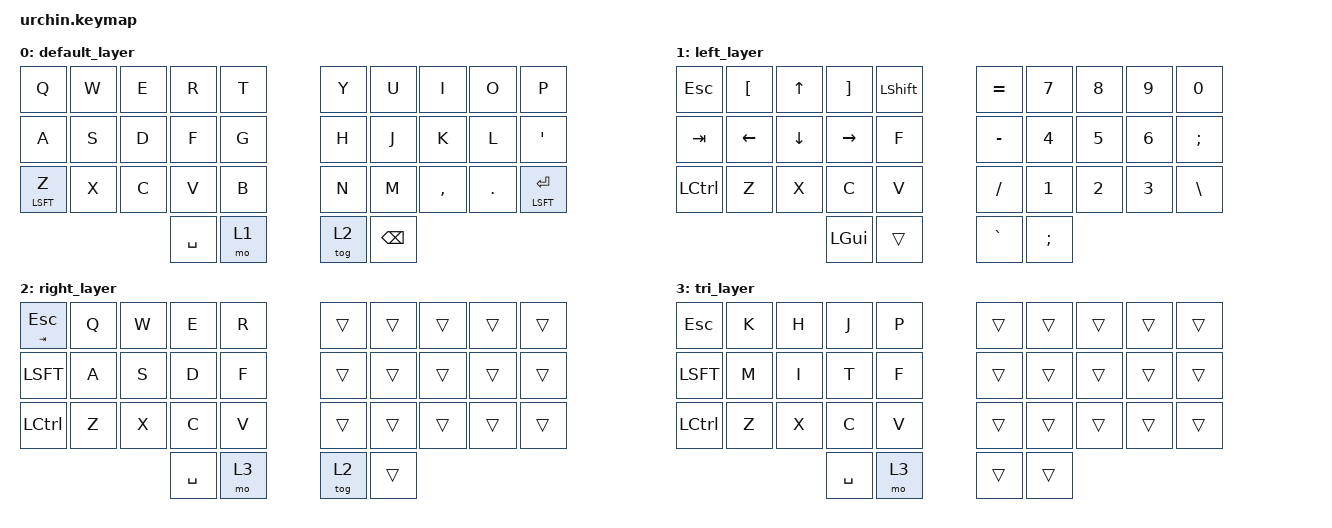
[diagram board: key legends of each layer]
/*
 * Copyright (c) 2022 The ZMK Contributors
 *
 * SPDX-License-Identifier: MIT
 */

#include <behaviors.dtsi>
#include <dt-bindings/zmk/keys.h>
#include <dt-bindings/zmk/bt.h>


&mt {
  //  flavor = "tap-preferred";
   // tapping_term_ms = <200>;
};

/ {

    
        keymap {
                compatible = "zmk,keymap";

            default_layer {
        bindings = <
        &kp Q &kp W &kp E &kp R &kp T                      &kp Y &kp U  &kp I    &kp O   &kp P
        &kp A &kp S &kp D &kp F &kp G                      &kp H &kp J  &kp K    &kp L   &kp QUOT
        &mt LSFT Z &kp X &kp C &kp V &kp B                 &kp N &kp M  &kp CMMA &kp DOT &mt LSFT RET
                        &kp SPC &mo 1                      &tog 2  &kp BSPC
        >;
        };

            left_layer {
        bindings = <
        &kp ESC   &kp LBKT    &kp UP     &kp RBKT     &kp LSHFT       &kp EQUAL   &kp NUM_7   &kp NUM_8   &kp NUM_9   &kp NUM_0
        &kp TAB   &kp LEFT    &kp DOWN   &kp RIGHT    &kp F           &kp MINUS   &kp NUM_4   &kp NUM_5   &kp NUM_6   &kp SEMI
        &kp LCTRL &kp Z       &kp X      &kp C        &kp V           &kp SLASH   &kp NUM_1   &kp NUM_2   &kp NUM_3   &kp BSLH
                                         &kp LGUI     &trans          &kp GRAVE    &kp SEMI
        >;
        };

        right_layer {
        bindings = <
        &mt TAB ESC &kp Q    &kp W    &kp E     &kp R           &trans   &trans   &trans   &trans   &trans
        &kp LSFT    &kp A    &kp S    &kp D     &kp F           &trans   &trans   &trans   &trans   &trans
        &kp LCTRL   &kp Z    &kp X    &kp C     &kp V           &trans   &trans   &trans   &trans   &trans
                                      &kp SPC   &mo 3           &tog 2   &trans
        >;
        };

        tri_layer {
        bindings = <
        &kp ESC     &kp K    &kp H    &kp J     &kp P           &trans   &trans   &trans   &trans   &trans
        &kp LSFT    &kp M    &kp I    &kp T     &kp F           &trans   &trans   &trans   &trans   &trans
        &kp LCTRL   &kp Z    &kp X    &kp C     &kp V           &trans   &trans   &trans   &trans   &trans
                                      &kp SPC   &mo 3           &trans   &trans
        >;
        };

    };
};
